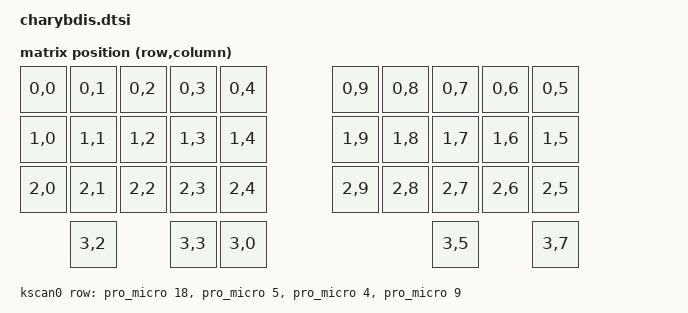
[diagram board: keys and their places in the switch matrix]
#include <dt-bindings/zmk/matrix_transform.h>
#include "physical_layouts.dtsi"

/ {
    charybdis_layout: charybdis_layout {
        compatible = "zmk,physical-layout";
        display-name = "charybdis nano";

        kscan = <&kscan0>;
        transform = <&default_transform>;

        keys  //                  w   h    x    y     rot    rx    ry
            = <&key_physical_attrs 100 100    0    0       0     0     0>
            , <&key_physical_attrs 100 100  100    0       0     0     0>
            , <&key_physical_attrs 100 100  200    0       0     0     0>
            , <&key_physical_attrs 100 100  300    0       0     0     0>
            , <&key_physical_attrs 100 100  400    0       0     0     0>
            , <&key_physical_attrs 100 100  625    0       0     0     0>
            , <&key_physical_attrs 100 100  725    0       0     0     0>
            , <&key_physical_attrs 100 100  825    0       0     0     0>
            , <&key_physical_attrs 100 100  925    0       0     0     0>
            , <&key_physical_attrs 100 100 1025    0       0     0     0>

            , <&key_physical_attrs 100 100    0  100       0     0     0>
            , <&key_physical_attrs 100 100  100  100       0     0     0>
            , <&key_physical_attrs 100 100  200  100       0     0     0>
            , <&key_physical_attrs 100 100  300  100       0     0     0>
            , <&key_physical_attrs 100 100  400  100       0     0     0>
            , <&key_physical_attrs 100 100  625  100       0     0     0>
            , <&key_physical_attrs 100 100  725  100       0     0     0>
            , <&key_physical_attrs 100 100  825  100       0     0     0>
            , <&key_physical_attrs 100 100  925  100       0     0     0>
            , <&key_physical_attrs 100 100 1025  100       0     0     0>

            , <&key_physical_attrs 100 100    0  200       0     0     0>
            , <&key_physical_attrs 100 100  100  200       0     0     0>
            , <&key_physical_attrs 100 100  200  200       0     0     0>
            , <&key_physical_attrs 100 100  300  200       0     0     0>
            , <&key_physical_attrs 100 100  400  200       0     0     0>
            , <&key_physical_attrs 100 100  625  200       0     0     0>
            , <&key_physical_attrs 100 100  725  200       0     0     0>
            , <&key_physical_attrs 100 100  825  200       0     0     0>
            , <&key_physical_attrs 100 100  925  200       0     0     0>
            , <&key_physical_attrs 100 100 1025  200       0     0     0>

            , <&key_physical_attrs 100 100  100  310       0     0     0>
            , <&key_physical_attrs 100 100  300  310       0     0     0>
            , <&key_physical_attrs 100 100  400  310       0     0     0>
            , <&key_physical_attrs 100 100  825  310       0     0     0>
            , <&key_physical_attrs 100 100 1025  310       0     0     0>
            ;
    };

    chosen {
        zmk,kscan = &kscan0;
        zmk,physical-layout = &charybdis_layout;
    };

    default_transform: keymap_transform_0 {
        compatible = "zmk,matrix-transform";
        columns = <10>;
        rows = <4>;

        map = <
            RC(0,0) RC(0,1) RC(0,2) RC(0,3) RC(0,4)     RC(0,9) RC(0,8) RC(0,7) RC(0,6) RC(0,5)
            RC(1,0) RC(1,1) RC(1,2) RC(1,3) RC(1,4)     RC(1,9) RC(1,8) RC(1,7) RC(1,6) RC(1,5)
            RC(2,0) RC(2,1) RC(2,2) RC(2,3) RC(2,4)     RC(2,9) RC(2,8) RC(2,7) RC(2,6) RC(2,5)
                        	RC(3,2) RC(3,3) RC(3,0)     RC(3,5) RC(3,7)
        >;
    };

    kscan0: kscan {
        compatible = "zmk,kscan-gpio-matrix";
        label = "KSCAN";

        diode-direction = "col2row";
        row-gpios
            = <&pro_micro 18 (GPIO_ACTIVE_HIGH | GPIO_PULL_DOWN)>
            , <&pro_micro 5  (GPIO_ACTIVE_HIGH | GPIO_PULL_DOWN)>
            , <&pro_micro 4  (GPIO_ACTIVE_HIGH | GPIO_PULL_DOWN)>
            , <&pro_micro 9  (GPIO_ACTIVE_HIGH | GPIO_PULL_DOWN)>
            ;
    };
};

&charybdis_layout {
    transform = <&default_transform>;
    kscan = <&kscan0>;
};
